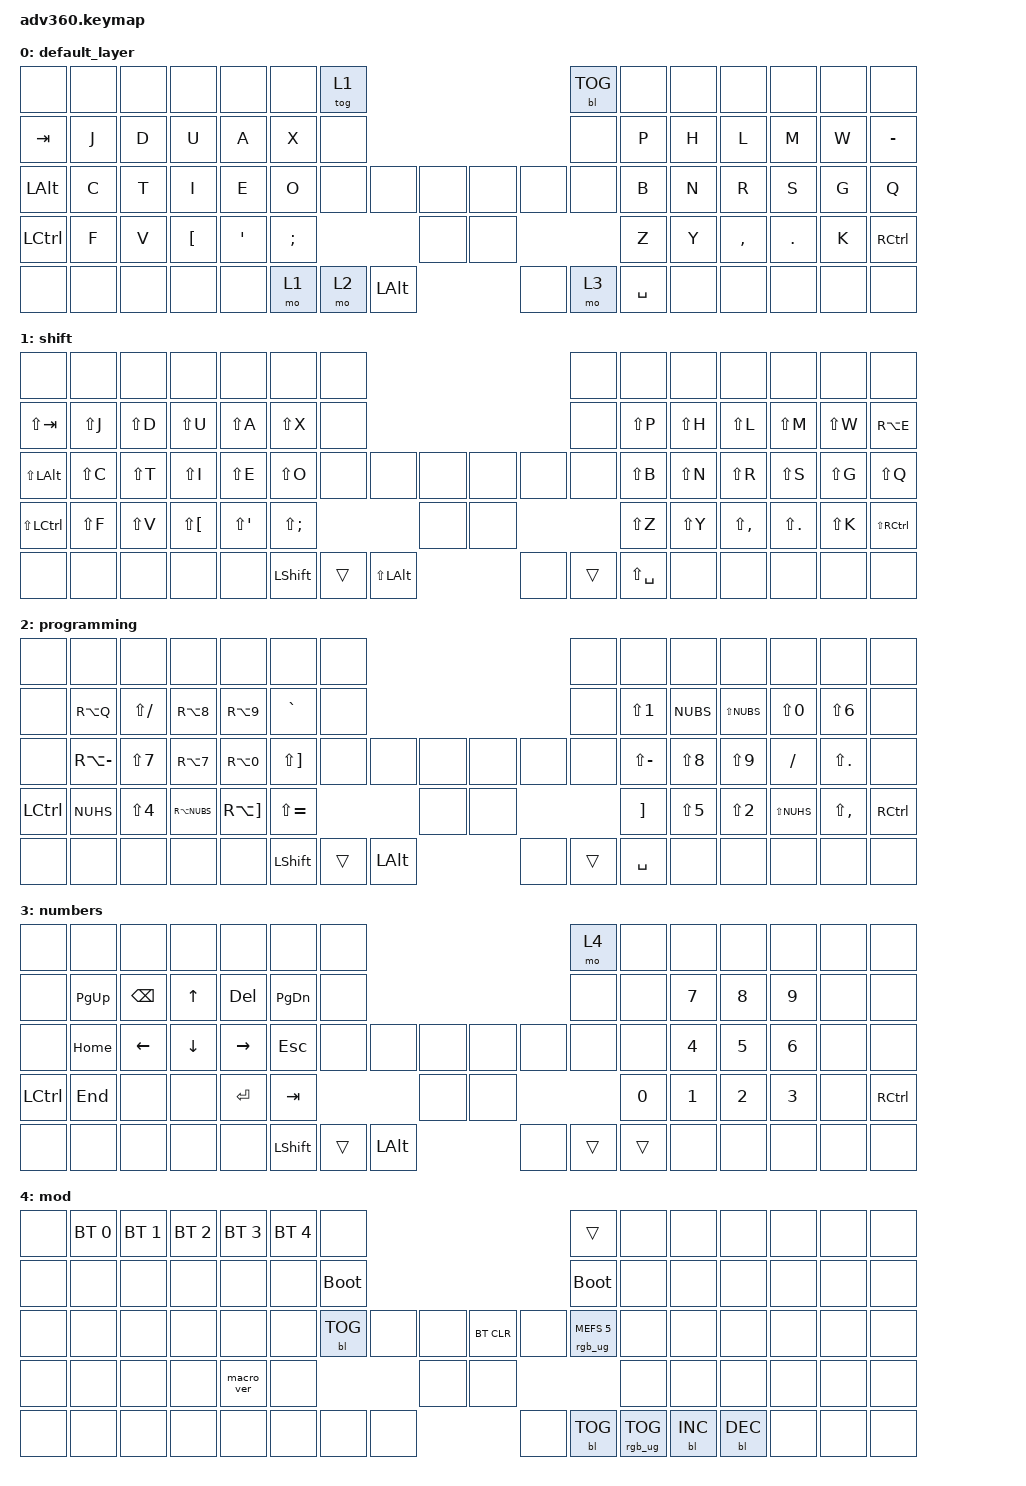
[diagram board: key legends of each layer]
#include <behaviors.dtsi>
#include <dt-bindings/zmk/keys.h>
#include <dt-bindings/zmk/bt.h>
#include <dt-bindings/zmk/rgb.h>
#include <dt-bindings/zmk/backlight.h>

/ {
    behaviors {
      #include "macros.dtsi"
      #include "version.dtsi"
      #ifndef VERSION_MACRO
      macro_ver: macro_ver {
        compatible = "zmk,behavior-macro";
        label = "macro_version";
        #binding-cells = <0>;
        bindings = <&kp RET>;
      };
      #endif

      hm: homerow_mods {
          compatible = "zmk,behavior-hold-tap";
          label = "HOMEROW_MODS";
          #binding-cells = <2>;
          tapping-term-ms = <200>;
          quick_tap_ms = <175>;
          flavor = "tap-preferred";
          bindings = <&kp>, <&kp>;
      };
    };

  keymap {
    compatible = "zmk,keymap";

    default_layer {
      bindings = <
    // --------------------------------------------------------------------------------------
    // |      |     |     |     |     |     |     |   |BLTOG|      |     |     |     |      |
    // |  TAB |  j  |  d  |  u  |  a  |  x  |     |   |  p  |  h   |  l  |  m  |  w  |  ß   |
    // |      |  c  |  t  |  i  |  e  |  o  |     |   |  b  |  n   |  r  |  s  |  g  |  q   |
    // | LCTEL|  f  |  v  |  ü  |  ä  |  ö  |     |   |  y  |  y   |  ,  |  .  |  k  | RCTRL|
    // |      |     |     |     |     |
    //
    //                                |     |     |   |     |     |
    //                                      |     |   |     |
    //                          | M 1 | M 2 | LALT|   |     | M 4 |SPACE|
        &none     &none  &none  &none    &none   &none    &tog 1                                                               &bl BL_TOG &none &none &none     &none   &none  &none
        &kp TAB   &kp J  &kp D  &kp U    &kp A   &kp X    &none                                                                &none      &kp P &kp H &kp L     &kp M   &kp W  &kp MINUS
        &kp LALT  &kp C  &kp T  &kp I    &kp E   &kp O    &none          &none &none     /**/ &none &none                      &none      &kp B &kp N &kp R     &kp S   &kp G  &kp Q
        &kp LCTRL &kp F  &kp V  &kp LBKT &kp SQT &kp SEMI                      &none     /**/ &none                                       &kp Z &kp Y &kp COMMA &kp DOT &kp K  &kp RCTRL
        &none     &none  &none  &none    &none                     &mo 1 &mo 2 &kp LALT  /**/ &none &mo 3 &kp SPACE                       &none &none     &none   &none  &none
      >;
    };
    shift {
      bindings = <
    // --------------------------------------------------------------------------------------
    // |      |     |     |     |     |     |     |   |     |      |     |     |     |      |
    // |  TAB |  J  |  D  |  U  |  A  |  X  |     |   |  P  |  H   |  L  |  M  |  W  |  €   |
    // |S/LALT|  C  |  T  |  I  |  E  |  O  |     |   |  B  |  N   |  R  |  S  |  G  |  Q   |
    // |S/LCTL|  F  |  V  |  Ü  |  Ä  |  Ö  |     |   |  Z  |  Y   |  ,  |  .  |  K  |S/RCTL|
    // |      |     |     |     |     |
    //
    //                                |     |     |   |     |     |
    //                                      |     |   |     |
    //                          |     |    |S/LALT|   |     |     |LS(SPC)|
        &none         &none      &none      &none        &none       &none        &none                                                                &none  &none      &none      &none         &none       &none      &none 
        &kp LS(TAB)   &kp LS(J)  &kp LS(D)  &kp LS(U)    &kp LS(A)   &kp LS(X)    &none                                                                &none  &kp LS(P)  &kp LS(H)  &kp LS(L)     &kp LS(M)   &kp LS(W)  &kp RA(E)
        &kp LS(LALT)  &kp LS(C)  &kp LS(T)  &kp LS(I)    &kp LS(E)   &kp LS(O)    &none          &none  &none         /**/ &none  &none                &none  &kp LS(B)  &kp LS(N)  &kp LS(R)     &kp LS(S)   &kp LS(G)  &kp LS(Q)
        &kp LS(LCTRL) &kp LS(F)  &kp LS(V)  &kp LS(LBKT) &kp LS(SQT) &kp LS(SEMI)                       &none         /**/ &none                              &kp LS(Z)  &kp LS(Y)  &kp LS(COMMA) &kp LS(DOT) &kp LS(K)  &kp LS(RCTRL)
        &none         &none      &none      &none        &none                         &kp LSHFT &trans &kp LS(LALT)  /**/ &none &trans &kp LS(SPACE)                    &none      &none         &none       &none      &none
      >;
    };
    programming {
      bindings = <
    // --------------------------------------------------------------------------------------
    // |      |     |     |     |     |     |     |   |     |      |     |     |     |      |
    // |      |  @  |  _  |  [  |  ]  |  ^  |   |  !  |  <  |  >  |  =  |  &  |      |
    // |      |  \  |  /  |  {  |  }  |  *  |   |  ?  |  (  |  )  |  -  |  :  |      |
    // |      |  #  |  $  |  |  |  ~  |  `  |   |  +  |  %  |  "  |  '  |  ;  |      |
    // |      |     |     |     |     |
    //
    //                                |     |     |   |     |     |
    //                                      |     |   |     |
    //                          |     |    |S/LALT|   |     |     |LS(SPC)|
        &none     &none          &none             &none            &none              &none         &none                                                                &none  &none             &none            &none            &none            &none            &none 
        &none     &kp RA(Q)      &kp LS(SLASH)     &kp RA(NUMBER_8) &kp RA(NUMBER_9)   &kp GRAVE     &none                                                                &none  &kp LS(NUMBER_1)  &kp NUBS         &kp LS(NUBS)     &kp LS(NUMBER_0) &kp LS(NUMBER_6) &none
        &none     &kp RA(MINUS)  &kp LS(NUMBER_7)  &kp RA(NUMBER_7) &kp RA(NUMBER_0)   &kp LS(RBKT)  &none          &none  &none    /**/ &none  &none                     &none  &kp LS(MINUS)     &kp LS(NUMBER_8) &kp LS(NUMBER_9) &kp FSLH         &kp LS(DOT)      &none
        &kp LCTRL &kp NUHS       &kp LS(NUMBER_4)  &kp RA(NUBS)     &kp RA(RBKT)       &kp LS(EQUAL)                       &none    /**/ &none                                   &kp RBKT          &kp LS(NUMBER_5) &kp LS(NUMBER_2) &kp LS(NUHS)     &kp LS(COMMA)    &kp RCTRL
        &none     &none          &none             &none            &none                                    &kp LSHFT &trans &kp LALT /**/ &none &trans &kp SPACE                                    &none            &none            &none            &none            &none
      >;
    };

    numbers {
      bindings = <
    // --------------------------------------------------------------------------------------
    // |      |     |     |     |     |     |     |   |     |      |     |     |     |      |
    // |      | PgUp | BSP |  Up  | DEL  | PgDwn |   |  ^  |  &  |  *  |  (  |  )  | BKSP |
    // |      | HOME | LEFT| DOWN | RGHT | ESC   |   |  -  |  =  |  [  |  ]  |  \  |  `   |
    // |      | END  |     |      | ENT  | TAB   |   |  _  |  +  |  {  |  }  | "|" |  ~   |
    // |      |     |     |     |     |
    //
    //                                |     |     |   |     |     |
    //                                      |     |   |     |
    //                          |     |    |S/LALT|   |     |     |LS(SPC)|
        &none     &none     &none    &none     &none      &none     &none                                                                &mo 4  &none        &none        &none        &none        &none  &none 
        &none     &kp PG_UP &kp BSPC &kp UP    &kp DEL    &kp PG_DN &none                                                                &none  &none        &kp NUMBER_7 &kp NUMBER_8 &kp NUMBER_9 &none  &none
        &none     &kp HOME  &kp LEFT &kp DOWN  &kp RIGHT  &kp ESC   &none          &none  &none      /**/ &none  &none                   &none  &none        &kp NUMBER_4 &kp NUMBER_5 &kp NUMBER_6 &none  &none
        &kp LCTRL &kp END   &none    &none     &kp ENTER  &kp TAB                         &none      /**/ &none                                 &kp NUMBER_0 &kp NUMBER_1 &kp NUMBER_2 &kp NUMBER_3 &none  &kp RCTRL
        &none     &none     &none    &none     &none                     &kp LSHFT &trans &kp LALT   /**/ &none &trans &trans                                &none        &none        &none        &none  &none
      >;
    };
    mod {
      bindings = <
        &none &bt BT_SEL 0 &bt BT_SEL 1 &bt BT_SEL 2 &bt BT_SEL 3 &bt BT_SEL 4 &none                                                                     &trans                 &none        &none        &none        &none &none &none
        &none &none        &none        &none        &none        &none        &bootloader                                                               &bootloader            &none        &none        &none        &none &none &none
        &none &none        &none        &none        &none        &none        &bl BL_TOG              &none &none &bt BT_CLR &none                      &rgb_ug RGB_MEFS_CMD 5 &none        &none        &none        &none &none &none
        &none &none        &none        &none        &macro_ver   &none                                      &none &none                                                        &none        &none        &none        &none &none &none
        &none &none        &none        &none        &none                                       &none &none &none &none      &bl BL_TOG &rgb_ug RGB_TOG                                     &bl BL_INC   &bl BL_DEC   &none &none &none
      >;
    };
  };
};
